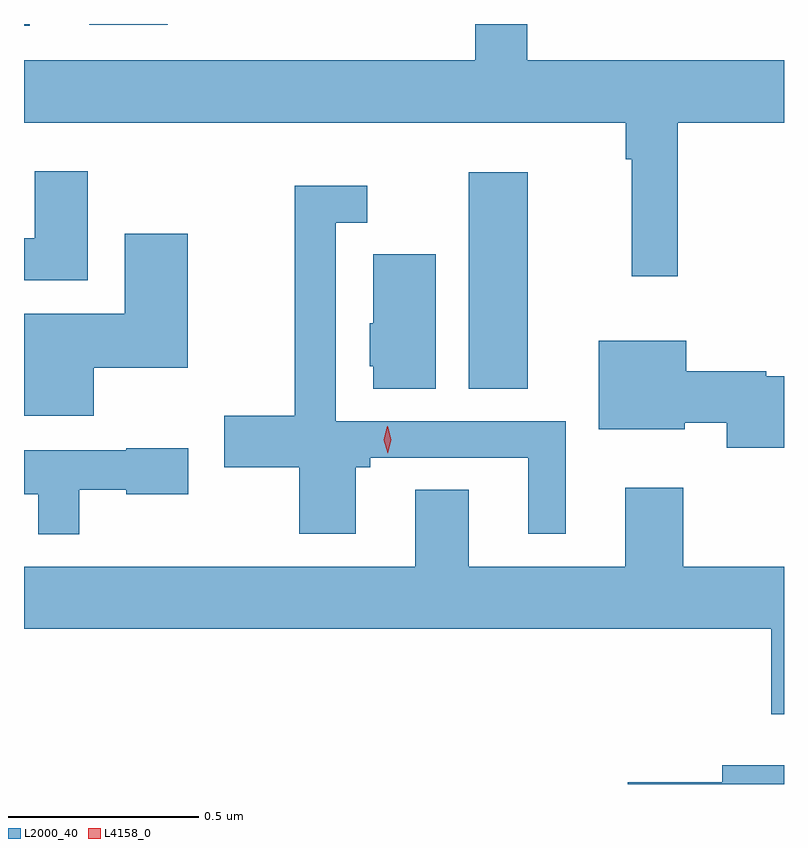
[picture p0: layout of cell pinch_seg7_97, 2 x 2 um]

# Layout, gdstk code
import gdstk
lib = gdstk.Library(unit=1e-6, precision=1e-09)
def R(c, l, rs):  # rectangles x0, y0, x1, y1
    for r in rs: c.add(gdstk.rectangle(r[:2], r[2:], *l))
def P(c, l, *ps):  # polygons
    for p in ps: c.add(gdstk.Polygon(p, *l))
L2000_40 = (2000, 40)
L4158_0 = (4158, 0)

pinch_seg7_97 = lib.new_cell('pinch_seg7_97')
R(pinch_seg7_97, L2000_40, [(887.528,1006.576,887.683,1007.146), (886.357,1007.532,886.372,1007.536), (886.529,1007.534,886.735,1007.536)])
P(pinch_seg7_97, L2000_40, [(888.077,1007.276),(888.357,1007.276),(888.357,1007.44),(887.681,1007.44),(887.681,1007.536),(887.545,1007.536),(887.545,1007.44),(886.357,1007.44),(886.357,1007.276),(887.941,1007.276),(887.941,1007.18),(887.956,1007.18),(887.956,1006.872),(888.077,1006.872)],
  [(886.525,1007.149),(886.385,1007.149),(886.385,1006.972),(886.357,1006.972),(886.357,1006.862),(886.525,1006.862)],
  [(887.23,1006.37),(887.268,1006.37),(887.268,1006.395),(887.684,1006.395),(887.684,1006.194),(887.782,1006.194),(887.782,1006.491),(887.178,1006.491),(887.178,1007.013),(887.26,1007.013),(887.26,1007.11),(887.07,1007.11),(887.07,1006.505),(886.884,1006.505),(886.884,1006.37),(887.081,1006.37),(887.081,1006.194),(887.23,1006.194)],
  [(886.54,1006.631),(886.788,1006.631),(886.788,1006.984),(886.622,1006.984),(886.622,1006.774),(886.357,1006.774),(886.357,1006.505),(886.54,1006.505)],
  [(887.44,1006.93),(887.276,1006.93),(887.276,1006.749),(887.267,1006.749),(887.267,1006.635),(887.276,1006.635),(887.276,1006.576),(887.44,1006.576)],
  [(888.357,1006.609),(888.31,1006.609),(888.31,1006.622),(888.1,1006.622),(888.1,1006.702),(887.87,1006.702),(887.87,1006.469),(888.096,1006.469),(888.096,1006.487),(888.206,1006.487),(888.206,1006.421),(888.357,1006.421)],
  [(886.503,1006.31),(886.626,1006.31),(886.626,1006.298),(886.789,1006.298),(886.789,1006.42),(886.626,1006.42),(886.626,1006.414),(886.357,1006.414),(886.357,1006.298),(886.395,1006.298),(886.395,1006.193),(886.503,1006.193)],
  [(888.357,1006.108),(888.092,1006.108),(888.092,1006.315),(887.939,1006.315),(887.939,1006.108),(887.527,1006.108),(887.527,1006.31),(887.387,1006.31),(887.387,1006.108),(886.357,1006.108),(886.357,1005.944),(888.323,1005.944),(888.323,1005.72),(888.357,1005.72)],
  [(888.357,1005.586),(888.194,1005.586),(888.194,1005.54),(887.946,1005.54),(887.946,1005.536),(888.357,1005.536)])
P(pinch_seg7_97, L4158_0, [(887.314,1006.406),(887.314,1006.406),(887.304,1006.442),(887.313,1006.478),(887.314,1006.478),(887.314,1006.478),(887.324,1006.442),(887.314,1006.406)])

lib.write_gds('pinch_seg7_97.gds')
